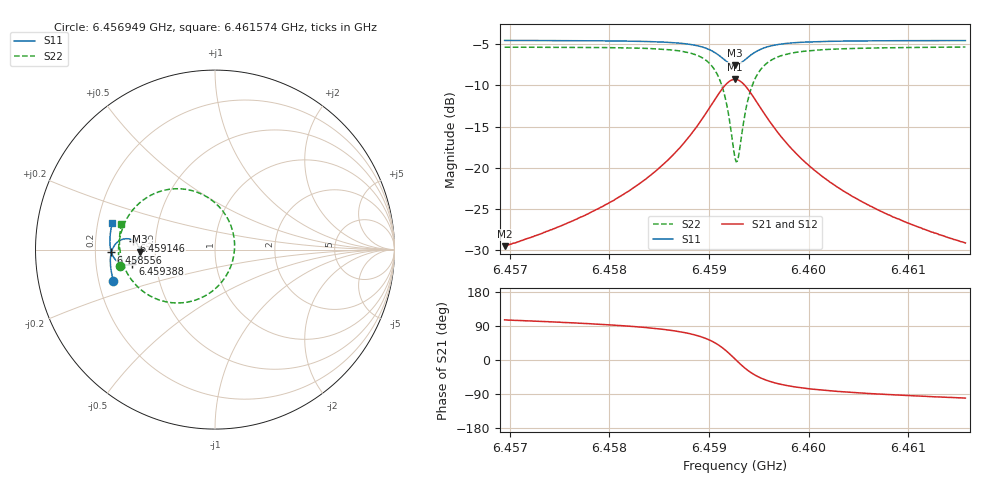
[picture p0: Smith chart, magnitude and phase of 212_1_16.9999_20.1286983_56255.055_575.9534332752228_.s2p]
#  HZ  S  RI  R  50.00
! Rohde & Schwarz Vector Network Analyzer
! Rohde-Schwarz,ZNB20-2Port,1311601062101988,3.16
! Created: UTC 3/20/2024, 11:01:36 PM
! freq[Hz]  re:S11  im:S11  re:S21  im:S21  re:S12  im:S12  re:S22  im:S22
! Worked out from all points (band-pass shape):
!   401 points, 6.456949 GHz to 6.461574 GHz, reference 50 ohm
!   highest |S21| = -9.27 dB at 6.459261 GHz (marker M1); lowest = -29.5 dB at 6.456949 GHz (marker M2)
!   |S21| within 3 dB of the highest: 6.459029 GHz to 6.459493 GHz (463.4 kHz wide, 0.00717 % of centre)
!   lowest |S11| = -7.6 dB at 6.459261 GHz (marker M3), VSWR 2.44, Z = 20.5 - j0.607 ohm
!   |S11| at or under -10 dB: nowhere
!   |S22| runs from -19.3 to -5.4 dB; largest |S21 - S12| = 0.013
!   S11 on the Smith chart (normalised r, x): 6.456949 GHz: 0.26, -0.14; 6.458556 GHz: 0.27, -0.01; 6.459146 GHz: 0.37, +0.05; 6.459388 GHz: 0.37, -0.07; 6.461574 GHz: 0.26, +0.12
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6.4569487e9  -0.5655 -0.1752  -0.00916 0.0322  -0.0074 0.0322  -0.531 -0.0905
6.4577234e9  -0.58 -0.1078  -0.00595 0.0501  -0.00341 0.0495  -0.5373 -0.00012
6.4581859e9  -0.5831 -0.0613  0.000795 0.0717  0.00396 0.0703  -0.5284 0.074
6.458498e9  -0.5797 -0.0238  0.0136 0.0983  0.0175 0.0957  -0.505 0.1455
6.4585559e9  -0.5779 -0.0158  0.0178 0.1053  0.0219 0.1023  -0.497 0.162
6.458764e9  -0.565 0.0163  0.0451 0.1379  0.0491 0.1329  -0.4461 0.2349
6.4589143e9  -0.5425 0.0428  0.0901 0.1684  0.0933 0.1618  -0.3634 0.2997
6.459053e9  -0.4989 0.0605  0.1769 0.1852  0.178 0.1781  -0.2048 0.3392
6.4591455e9  -0.4544 0.0504  0.2667 0.1544  0.2669 0.1486  -0.0387 0.2898
6.4591918e9  -0.4333 0.0317  0.3103 0.1117  0.3116 0.1067  0.0442 0.214
6.4592612e9  -0.4185 -0.0122  0.3435 0.0154  0.3473 0.00866  0.1091 0.0353
6.4592727e9  -0.419 -0.0203  0.3436 -0.00217  0.3473 -0.00969  0.1087 0.00184
6.4592958e9  -0.4224 -0.0358  0.338 -0.0367  0.3418 -0.0458  0.098 -0.0635
6.4593883e9  -0.4598 -0.078  0.268 -0.1374  0.2674 -0.1504  -0.043 -0.2509
6.4594346e9  -0.4825 -0.0849  0.224 -0.1598  0.2202 -0.1725  -0.1313 -0.2877
6.4594924e9  -0.5076 -0.0841  0.1751 -0.1694  0.1686 -0.1804  -0.2281 -0.2969
6.4596427e9  -0.5487 -0.0626  0.092 -0.1533  0.0838 -0.1592  -0.3854 -0.2438
6.4598046e9  -0.5692 -0.0351  0.0496 -0.126  0.0424 -0.1287  -0.4613 -0.1732
6.4600358e9  -0.581 -0.00132  0.0226 -0.0967  0.0169 -0.0972  -0.506 -0.0961
6.4603942e9  -0.5856 0.0409  0.00628 -0.0695  0.00227 -0.0689  -0.5281 -0.0151
6.4608105e9  -0.5837 0.0826  -0.00123 -0.0517  -0.00394 -0.0508  -0.5323 0.0509
6.4615736e9  -0.5717 0.1501  -0.00639 -0.0344  -0.00811 -0.0335  -0.5213 0.141
